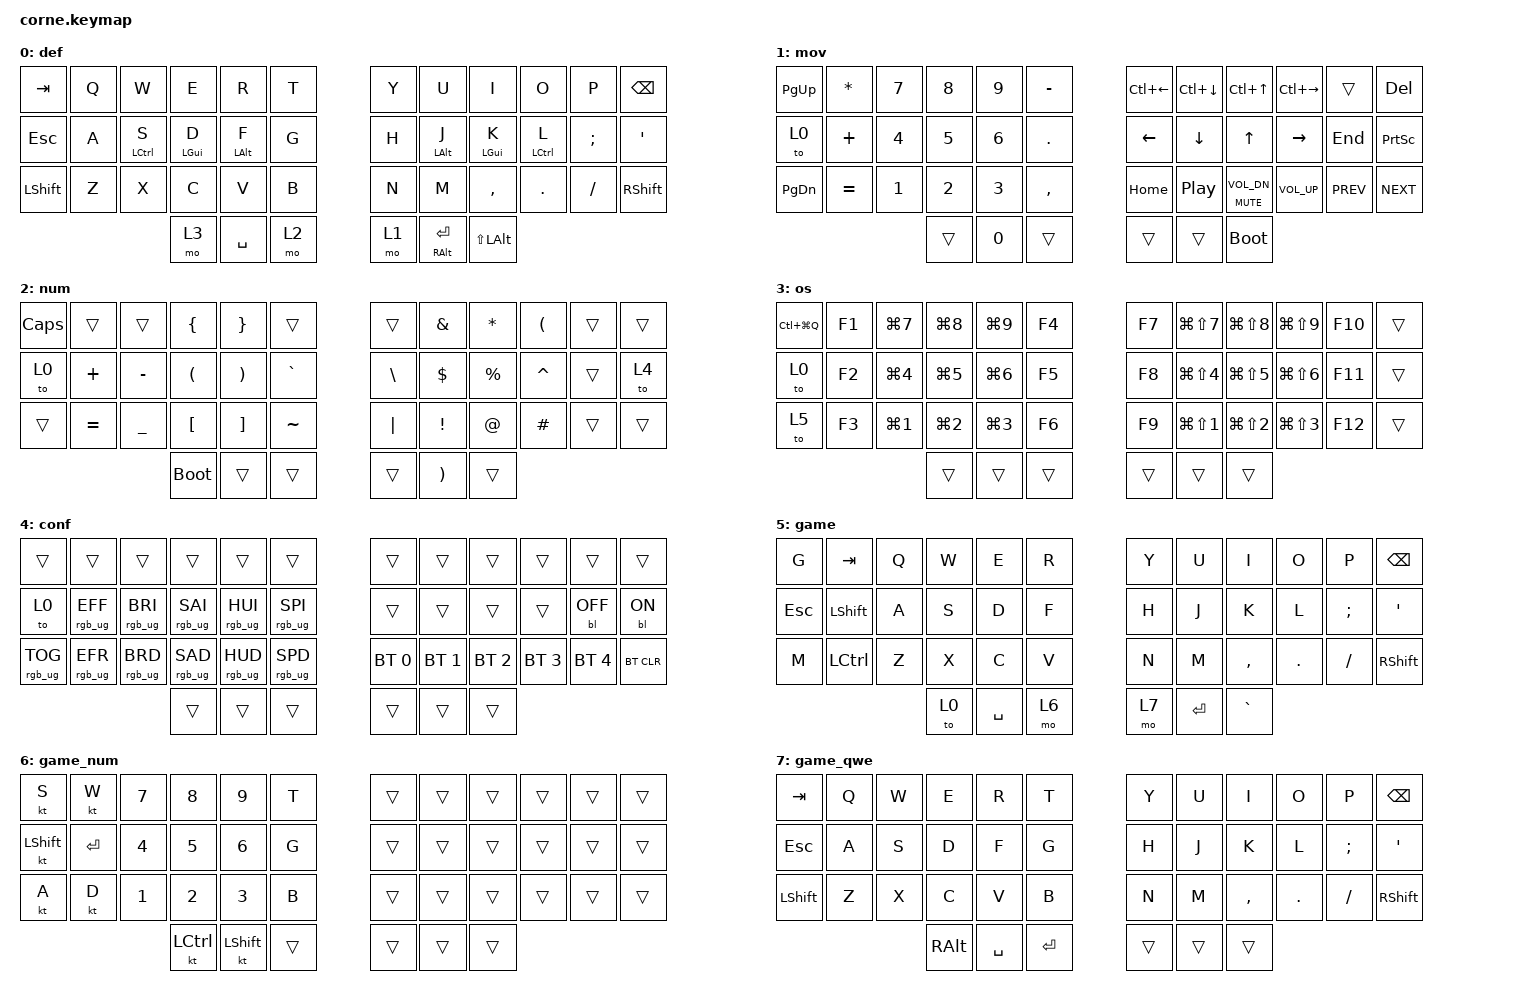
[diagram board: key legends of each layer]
// #include "../../../corne.keymap"

/*
 * Copyright (c) 2020 The ZMK Contributors
 *
 * SPDX-License-Identifier: MIT
 */

#include <behaviors.dtsi>
#include <dt-bindings/led/led.h>
#include <dt-bindings/zmk/backlight.h>
#include <dt-bindings/zmk/bt.h>
#include <dt-bindings/zmk/keys.h>
#include <dt-bindings/zmk/rgb.h>

/ {
    behaviors {
        bhm: balanced_homerow_mods {
            compatible = "zmk,behavior-hold-tap";
            label = "HOMEROW_MODS";
            #binding-cells = <2>;
            tapping-term-ms = <200>;    // <---[[moderate duration]]
            quick-tap-ms = <0>;
            flavor = "balanced";
            bindings = <&kp>, <&kp>;
        };
    };
};

/ {
    keymap {
        compatible = "zmk,keymap";

        default_layer {
            bindings = <
&kp TAB     &kp Q  &kp W         &kp E        &kp R        &kp T    &kp Y  &kp U          &kp I         &kp O         &kp P     &kp BSPC
&kp ESCAPE  &kp A  &bhm LCTRL S  &bhm LGUI D  &bhm LALT F  &kp G    &kp H  &bhm LALT J    &bhm LGUI K   &bhm LCTRL L  &kp SEMI  &kp SQT
&kp LSHFT   &kp Z  &kp X         &kp C        &kp V        &kp B    &kp N  &kp M          &kp COMMA     &kp DOT       &kp FSLH  &kp RSHIFT
                                 &mo 3        &kp SPACE    &mo 2    &mo 1  &bhm RALT RET  &kp LS(LALT)
            >;

            label = "def";
        };

        move_layer {
            bindings = <
&kp PAGE_UP    &kp STAR   &kp N7  &kp N8  &kp N9  &kp MINUS    &kp LC(LEFT)  &kp LC(DOWN)  &kp LC(UP)           &kp LC(RIGHT)  &trans      &kp DEL
&to 0          &kp PLUS   &kp N4  &kp N5  &kp N6  &kp DOT      &kp LEFT      &kp DOWN      &kp UP               &kp RIGHT      &kp END     &kp PSCRN
&kp PAGE_DOWN  &kp EQUAL  &kp N1  &kp N2  &kp N3  &kp COMMA    &kp HOME      &kp C_PP      &mt K_MUTE C_VOL_DN  &kp C_VOL_UP   &kp C_PREV  &kp C_NEXT
                                  &trans  &kp N0  &trans       &trans        &trans        &bootloader
            >;

            label = "mov";
        };

        number_layer {
            bindings = <
&kp CAPS  &trans     &trans     &kp LBRC     &kp RBRC  &trans       &trans    &kp AMPS         &kp STAR   &kp LPAR   &trans  &trans
&to 0     &kp PLUS   &kp MINUS  &kp LPAR     &kp RPAR  &kp GRAVE    &kp BSLH  &kp DLLR         &kp PRCNT  &kp CARET  &trans  &to 4
&trans    &kp EQUAL  &kp UNDER  &kp LBKT     &kp RBKT  &kp TILDE    &kp PIPE  &kp EXCLAMATION  &kp AT     &kp HASH   &trans  &trans
                                &bootloader  &trans    &trans       &trans    &kp RPAR         &trans
            >;

            label = "num";
        };

        os_layer {
            bindings = <
&kp LC(LG(Q))  &kp F1  &kp LG(N7)  &kp LG(N8)  &kp LG(N9)  &kp F4    &kp F7  &kp LG(LS(N7))  &kp LG(LS(N8))  &kp LG(LS(N9))  &kp F10  &trans
&to 0          &kp F2  &kp LG(N4)  &kp LG(N5)  &kp LG(N6)  &kp F5    &kp F8  &kp LG(LS(N4))  &kp LG(LS(N5))  &kp LG(LS(N6))  &kp F11  &trans
&to 5          &kp F3  &kp LG(N1)  &kp LG(N2)  &kp LG(N3)  &kp F6    &kp F9  &kp LG(LS(N1))  &kp LG(LS(N2))  &kp LG(LS(N3))  &kp F12  &trans
                                   &trans      &trans      &trans    &trans  &trans          &trans
            >;

            label = "os";
        };

        config_layer {
            bindings = <
&trans           &trans           &trans           &trans           &trans           &trans             &trans        &trans        &trans        &trans        &trans        &trans
&to 0            &rgb_ug RGB_EFF  &rgb_ug RGB_BRI  &rgb_ug RGB_SAI  &rgb_ug RGB_HUI  &rgb_ug RGB_SPI    &trans        &trans        &trans        &trans        &bl BL_OFF    &bl BL_ON
&rgb_ug RGB_TOG  &rgb_ug RGB_EFR  &rgb_ug RGB_BRD  &rgb_ug RGB_SAD  &rgb_ug RGB_HUD  &rgb_ug RGB_SPD    &bt BT_SEL 0  &bt BT_SEL 1  &bt BT_SEL 2  &bt BT_SEL 3  &bt BT_SEL 4  &bt BT_CLR
                                                   &trans           &trans           &trans             &trans        &trans        &trans
            >;

            label = "conf";
        };

        gaming {
            bindings = <
&kp G    &kp TAB    &kp Q  &kp W  &kp E      &kp R    &kp Y  &kp U    &kp I      &kp O    &kp P     &kp BSPC
&kp ESC  &kp LSHFT  &kp A  &kp S  &kp D      &kp F    &kp H  &kp J    &kp K      &kp L    &kp SEMI  &kp APOS
&kp M    &kp LCTRL  &kp Z  &kp X  &kp C      &kp V    &kp N  &kp M    &kp COMMA  &kp DOT  &kp FSLH  &kp RSHFT
                           &to 0  &kp SPACE  &mo 6    &mo 7  &kp RET  &kp GRAVE
            >;

            label = "game";
        };

        gaming_numbers {
            bindings = <
&kt S      &kt W      &kp N7  &kp N8     &kp N9      &kp T     &trans  &trans  &trans  &trans  &trans  &trans
&kt LSHFT  &kp ENTER  &kp N4  &kp N5     &kp N6      &kp G     &trans  &trans  &trans  &trans  &trans  &trans
&kt A      &kt D      &kp N1  &kp N2     &kp N3      &kp B     &trans  &trans  &trans  &trans  &trans  &trans
                              &kt LCTRL  &kt LSHIFT  &trans    &trans  &trans  &trans
            >;

            label = "game_num";
        };

        gaming_qwerty {
            bindings = <
&kp TAB    &kp Q  &kp W  &kp E     &kp R      &kp T        &kp Y   &kp U   &kp I      &kp O    &kp P     &kp BSPC
&kp ESC    &kp A  &kp S  &kp D     &kp F      &kp G        &kp H   &kp J   &kp K      &kp L    &kp SEMI  &kp APOS
&kp LSHFT  &kp Z  &kp X  &kp C     &kp V      &kp B        &kp N   &kp M   &kp COMMA  &kp DOT  &kp FSLH  &kp RSHFT
                         &kp RALT  &kp SPACE  &kp ENTER    &trans  &trans  &trans
            >;

            label = "game_qwe";
        };
    };
};
